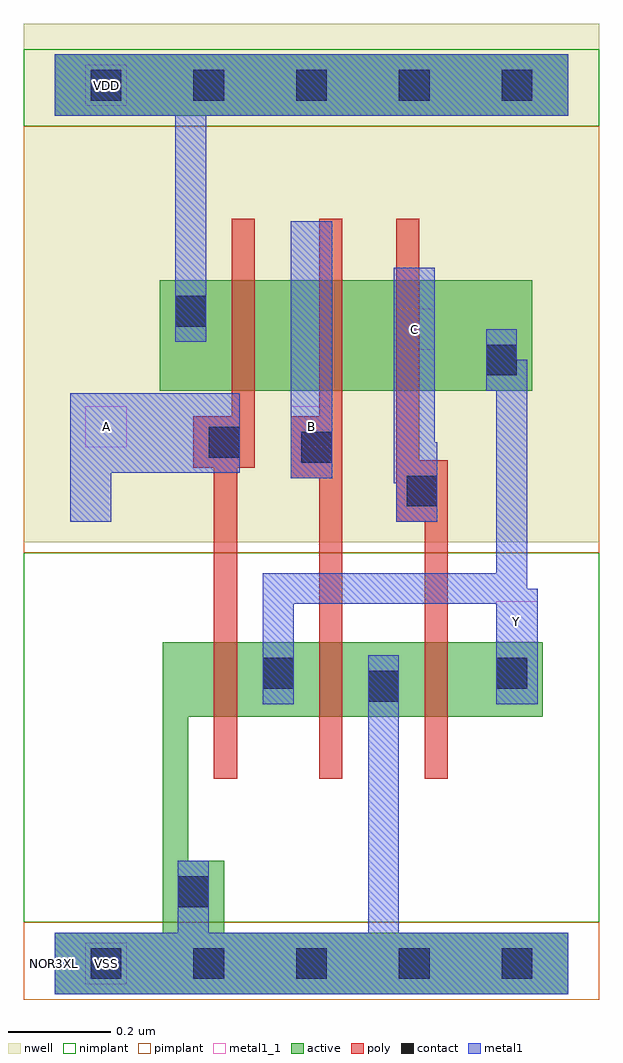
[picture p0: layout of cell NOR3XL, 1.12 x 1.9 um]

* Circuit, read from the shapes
.subckt NOR3XL A B C VDD VSS Y
M1 Y A VSS VSS nfet w=0.145u l=0.045u
M2 VSS B Y VSS nfet w=0.145u l=0.045u
M3 Y C VSS VSS nfet w=0.145u l=0.045u
M4 n1 A VDD VDD pfet w=0.215u l=0.045u
M5 n2 B n1 VDD pfet w=0.215u l=0.045u
M6 Y C n2 VDD pfet w=0.215u l=0.045u
.ends

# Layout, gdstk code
import gdstk
lib = gdstk.Library(unit=1e-6, precision=5e-10)
def R(c, l, rs):  # rectangles x0, y0, x1, y1
    for r in rs: c.add(gdstk.rectangle(r[:2], r[2:], *l))
def A(c, l, x, y, w, h, nx, ny, dx, dy):  # array of equal rectangles
    R(c, l, [(x+i*dx, y+j*dy, x+i*dx+w, y+j*dy+h) for i in range(nx) for j in range(ny)])
def P(c, l, *ps):  # polygons
    for p in ps: c.add(gdstk.Polygon(p, *l))
active = (1, 0)
nwell = (2, 0)
poly = (3, 0)
nimplant = (4, 0)
pimplant = (5, 0)
contact = (6, 0)
metal1 = (7, 0)
metal1_1 = (7, 1)

nor3xl = lib.new_cell('NOR3XL')
R(nor3xl, active, [(0.205,1.115,0.93,1.33), (0,1.65,1,1.77)])
P(nor3xl, active, [(0.21,0.625),(0.95,0.625),(0.95,0.48),(0.26,0.48),(0.26,0.2),(0.33,0.2),(0.33,0.06),(1,0.06),(1,-0.06),(0,-0.06),(0,0.06),(0.21,0.06)])
R(nor3xl, nwell, [(-0.06,0.82,1.06,1.83)])
P(nor3xl, poly, [(0.345,1.45),(0.39,1.45),(0.39,0.965),(0.355,0.965),(0.355,0.36),(0.31,0.36),(0.31,0.965),(0.27,0.965),(0.27,1.065),(0.345,1.065)],
  [(0.515,1.45),(0.56,1.45),(0.56,0.36),(0.515,0.36),(0.515,0.945),(0.46,0.945),(0.46,1.065),(0.515,1.065)],
  [(0.665,1.45),(0.71,1.45),(0.71,0.98),(0.765,0.98),(0.765,0.36),(0.72,0.36),(0.72,0.86),(0.665,0.86)])
R(nor3xl, nimplant, [(-0.06,0.08,1.06,0.8), (-0.06,1.63,1.06,1.78)])
R(nor3xl, pimplant, [(-0.06,-0.07,1.06,0.08), (-0.06,0.8,1.06,1.63)])
A(nor3xl, contact, 0.07, -0.03, 0.06, 0.06, 5, 2, 0.2, 1.71)
R(nor3xl, contact, [(0.24,0.11,0.3,0.17), (0.61,0.51,0.67,0.57), (0.405,0.535,0.465,0.595), (0.86,0.535,0.92,0.595), (0.685,0.89,0.745,0.95), (0.48,0.975,0.54,1.035), (0.3,0.985,0.36,1.045), (0.84,1.145,0.9,1.205), (0.235,1.24,0.295,1.3)])
R(nor3xl, metal1, [(0.46,0.945,0.54,1.445)])
P(nor3xl, metal1, [(0.66,1.355),(0.74,1.355),(0.74,1.015),(0.745,1.015),(0.745,0.86),(0.665,0.86),(0.665,0.935),(0.66,0.935)],
  [(0.24,0.2),(0.3,0.2),(0.3,0.06),(0.61,0.06),(0.61,0.6),(0.67,0.6),(0.67,0.06),(1,0.06),(1,-0.06),(0,-0.06),(0,0.06),(0.24,0.06)],
  [(0,1.77),(1,1.77),(1,1.65),(0.295,1.65),(0.295,1.21),(0.235,1.21),(0.235,1.65),(0,1.65)],
  [(0.84,1.235),(0.9,1.235),(0.9,1.175),(0.92,1.175),(0.92,0.73),(0.94,0.73),(0.94,0.505),(0.86,0.505),(0.86,0.7),(0.465,0.7),(0.465,0.505),(0.405,0.505),(0.405,0.76),(0.86,0.76),(0.86,1.115),(0.84,1.115)],
  [(0.03,1.11),(0.36,1.11),(0.36,0.955),(0.11,0.955),(0.11,0.86),(0.03,0.86)])
R(nor3xl, metal1_1, [(0.06,-0.04,0.14,0.04), (0.86,0.625,0.94,0.705), (0.06,1.005,0.14,1.085), (0.46,1.005,0.54,1.085), (0.66,1.195,0.74,1.275), (0.06,1.67,0.14,1.75)])
nor3xl.add(gdstk.Label('Y', (0.9,0.665), layer=7, texttype=1))
nor3xl.add(gdstk.Label('C', (0.7,1.235), layer=7, texttype=1))
nor3xl.add(gdstk.Label('A', (0.1,1.045), layer=7, texttype=1))
nor3xl.add(gdstk.Label('B', (0.5,1.045), layer=7, texttype=1))
nor3xl.add(gdstk.Label('VDD', (0.1,1.71), layer=7, texttype=1))
nor3xl.add(gdstk.Label('VSS', (0.1,0), layer=7, texttype=1))
nor3xl.add(gdstk.Label('NOR3XL', (0,0), layer=63, texttype=0))

lib.write_gds('NOR3XL.gds')
